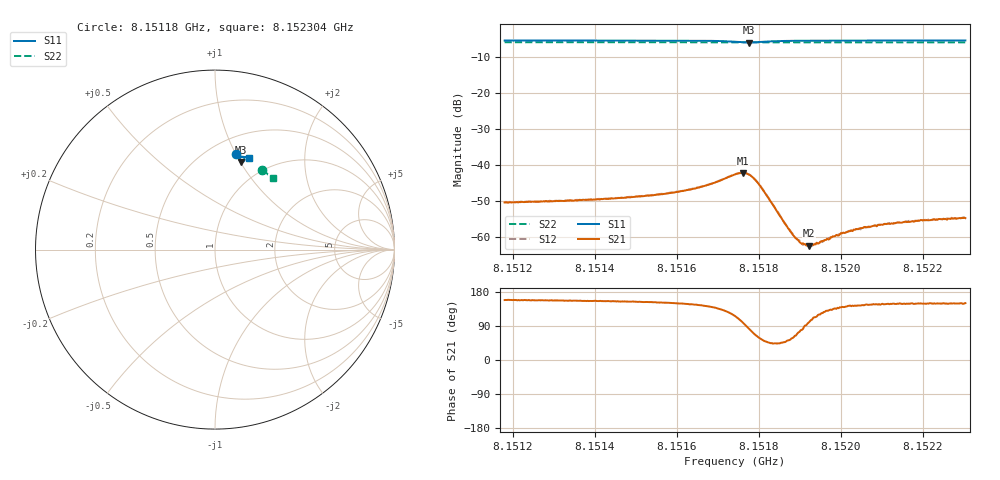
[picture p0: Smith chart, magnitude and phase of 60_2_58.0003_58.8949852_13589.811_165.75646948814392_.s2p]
#  HZ  S  RI  R  50.00
! Rohde & Schwarz Vector Network Analyzer
! Rohde-Schwarz,ZNB20-2Port,1311601062101988,3.16
! Created: UTC 3/21/2024, 12:52:57 AM
! freq[Hz]  re:S11  im:S11  re:S21  im:S21  re:S12  im:S12  re:S22  im:S22
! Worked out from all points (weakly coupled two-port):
!   401 points, 8.15118 GHz to 8.152304 GHz, reference 50 ohm
!   highest |S21| = -42.22 dB at 8.151762 GHz (marker M1); lowest = -62.6 dB at 8.151922 GHz (marker M2)
!   lowest |S11| = -5.9 dB at 8.151776 GHz (marker M3), VSWR 3.08, Z = 38.3 + j50.5 ohm
!   |S11| at or under -10 dB: nowhere
!   |S22| runs from -5.8 to -5.8 dB; largest |S21 - S12| = 0.00014
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8.1511804e9  0.1175 0.5303  -0.00278 0.00111  -0.00277 0.00115  0.2631 0.4417
8.1513687e9  0.1317 0.5273  -0.00296 0.00132  -0.00298 0.00135  0.2733 0.4352
8.1514726e9  0.1399 0.525  -0.00316 0.0015  -0.00317 0.00157  0.2788 0.4316
8.1515569e9  0.1471 0.5225  -0.0034 0.00185  -0.00342 0.00192  0.2834 0.4283
8.1516497e9  0.1568 0.5175  -0.00398 0.0027  -0.00394 0.0028  0.2884 0.4247
8.1516862e9  0.1614 0.513  -0.00417 0.00357  -0.00414 0.00365  0.2903 0.423
8.1517424e9  0.1636 0.4963  -0.00324 0.00662  -0.00314 0.00672  0.2929 0.4205
8.151762e9  0.1558 0.4888  -0.0011 0.00767  -0.00101 0.00774  0.2936 0.4195
8.1517761e9  0.1467 0.4883  0.000904 0.00731  0.001 0.00735  0.2939 0.4192
8.1517873e9  0.1404 0.4922  0.00216 0.0062  0.00226 0.00624  0.2945 0.4191
8.1518014e9  0.1365 0.4993  0.0028 0.00453  0.00287 0.0045  0.295 0.419
8.151866e9  0.1463 0.5165  0.000983 0.00109  0.000994 0.00111  0.2988 0.417
8.1518885e9  0.15 0.5178  0.000429 0.000876  0.000468 0.000877  0.3001 0.4163
8.1519025e9  0.1521 0.5182  0.000165 0.000802  0.000201 0.000816  0.3009 0.4157
8.1519222e9  0.1548 0.5184  -0.000115 0.000736  -7.26e-05 0.000756  0.3018 0.415
8.1519306e9  0.1558 0.5184  -0.000226 0.000748  -0.000191 0.000716  0.3024 0.4145
8.1519756e9  0.161 0.518  -0.000662 0.000712  -0.000676 0.00072  0.3048 0.4128
8.1520177e9  0.1653 0.5174  -0.000936 0.000713  -0.000928 0.000744  0.307 0.4112
8.1520543e9  0.1683 0.5168  -0.00108 0.00076  -0.00105 0.000755  0.3089 0.4097
8.1521189e9  0.1736 0.5155  -0.00127 0.000822  -0.00129 0.000862  0.3121 0.4071
8.1522004e9  0.1798 0.5138  -0.00144 0.00088  -0.00144 0.000879  0.3163 0.4037
8.1523043e9  0.1874 0.5115  -0.00157 0.000903  -0.00155 0.000949  0.3215 0.3995
